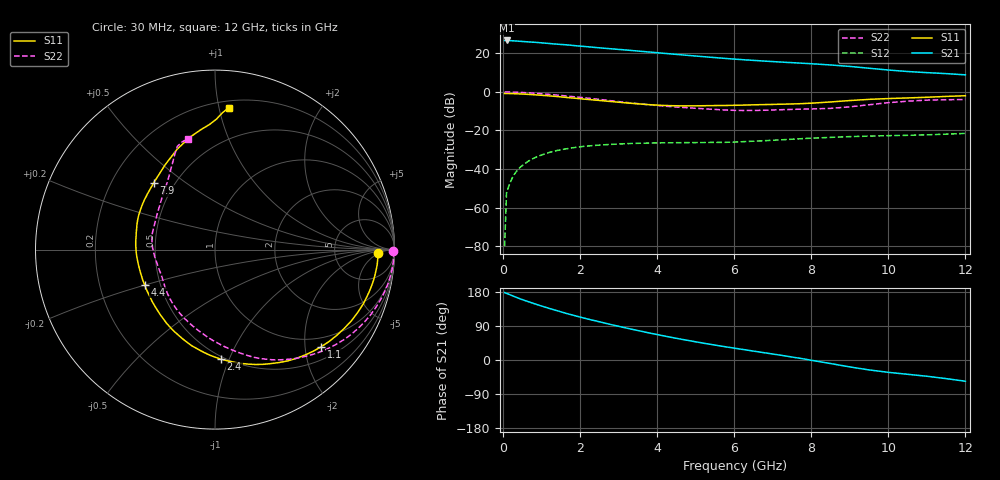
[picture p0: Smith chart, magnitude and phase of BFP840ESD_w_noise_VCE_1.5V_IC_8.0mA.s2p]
! Infineon Technologies  Discrete & RF Semiconductors
! BFP840ESD
! VCE =  1.5 V,  IC =  8.0 mA
! Common Emitter S-Parameters:  May 2012
# GHz  S  MA  R  50
!  f  S11  S21  S12  S22
! GHz  MAG  ANG  MAG  ANG  MAG  ANG  MAG  ANG
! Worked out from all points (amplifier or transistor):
!   93 points, 30 MHz to 12 GHz, reference 50 ohm
!   highest |S21| = 26.7 dB at 80 MHz (marker M1)
!   |S21| within 3 dB of that: start of sweep to 2.029 GHz
!   unconditionally stable (mu >= 1): start of sweep to 30.21 MHz; 5.651 GHz to 9.966 GHz
!   at 1.1 GHz: K = 0.23, MSG = 28.6 dB, |S12| = -32.0 dB
!   at 4.2 GHz: K = 0.75, MSG = 23.2 dB, |S12| = -26.4 dB
!   at 12 GHz: K = 0.72, MSG = 15.2 dB, |S12| = -21.5 dB
!   lowest NFmin = 0.73 dB at 450 MHz
!   S11 on the Smith chart (normalised r, x): 30 MHz: 20, -4; 1.1 GHz: 0.78, -2.35; 2.4 GHz: 0.48, -0.94; 4.4 GHz: 0.41, -0.20; 7.9 GHz: 0.38, +0.38; 12 GHz: 0.25, +1.07
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0.03  0.9087 -1.2  21.53 177.9  0.0001 63.3  0.9915 -0.5
0.08  0.9081 -3.3  21.59 175.8  0.0024 108.8  0.9967 -2.4
0.33  0.8949 -13.3  20.88 165.5  0.0085 81.1  0.9826 -11.1
0.6  0.8687 -23.8  19.95 155.4  0.0149 72.7  0.9526 -19.7
0.8  0.8428 -31.5  19.4 148.6  0.0193 67.9  0.9251 -25.9
1.1  0.8017 -42.5  18.32 139.0  0.0252 61.1  0.878 -34.6
1.6  0.7237 -60.4  16.73 123.9  0.033 50.2  0.7902 -48.2
2.1  0.6503 -77.1  15.08 110.5  0.0389 41.4  0.7051 -60.7
2.4  0.6116 -86.8  14.17 103.1  0.0412 36.9  0.6548 -67.8
2.8  0.562 -100.0  13.11 93.4  0.0436 32.0  0.5899 -76.8
3.2  0.5177 -113.4  12.16 84.1  0.0456 27.7  0.533 -86.2
3.7  0.4737 -130.1  11.01 73.2  0.0469 23.2  0.472 -98.6
4.1  0.4484 -143.8  10.15 64.9  0.0478 20.5  0.4344 -109.0
4.4  0.4383 -153.6  9.563 59.0  0.048 18.4  0.4116 -116.5
5.2  0.4383 -176.4  8.198 44.3  0.0487 15.6  0.3654 -135.0
6.1  0.4516 165.3  6.978 29.7  0.0507 15.6  0.3316 -155.0
6.8  0.4694 153.1  6.281 18.8  0.0544 14.7  0.3355 -170.9
7.9  0.505 132.6  5.446 1.1  0.0624 11.1  0.3603 166.0
8.5  0.5487 120.3  4.996 -9.4  0.0663 7.9  0.3744 150.6
9.5  0.641 102.7  4.109 -26.2  0.0713 1.3  0.465 124.5
10.5  0.6978 92.5  3.377 -37.7  0.0749 -4.1  0.5749 113.0
12  0.7955 84.3  2.769 -56.1  0.0841 -10.2  0.6359 103.5
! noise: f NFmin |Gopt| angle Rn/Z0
0.45  0.73  0.34  1  0.15
0.9  0.73  0.34  5  0.15
1.5  0.75  0.34  13  0.14
1.9  0.76  0.33  16  0.13
2.4  0.77  0.29  26  0.13
3.5  0.8  0.21  56  0.1
5.5  0.88  0.13  129  0.1
8  1.03  0.3  -134  0.09
10  1.19  0.47  -94  0.16
12  1.4  0.59  -73  0.27
